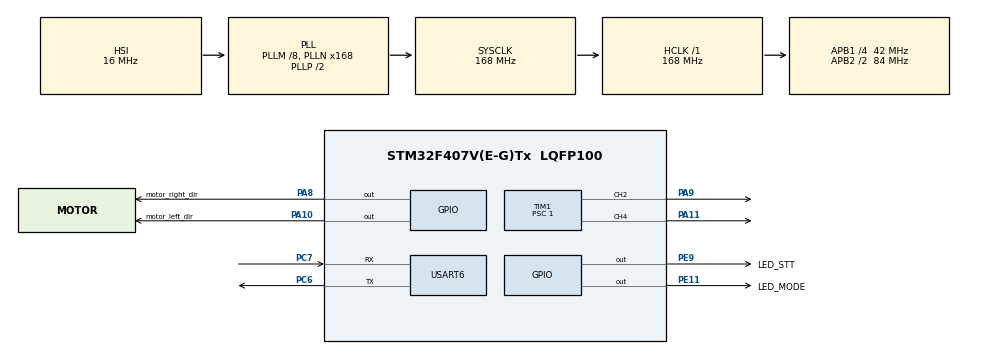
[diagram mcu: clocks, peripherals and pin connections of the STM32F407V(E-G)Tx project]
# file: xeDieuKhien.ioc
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Mcu.Family=STM32F4
Mcu.Name=STM32F407V(E-G)Tx
Mcu.Package=LQFP100
NVIC.PriorityGroup=NVIC_PRIORITYGROUP_4
NVIC.USART6_IRQn=true\:0\:0\:false\:false\:true\:true\:true\:true
PA10.GPIO_Label=motor_left_dir
PA10.GPIO_Speed=GPIO_SPEED_FREQ_VERY_HIGH
PA10.Signal=GPIO_Output
PA11.Signal=S_TIM1_CH4
PA13.Mode=Serial_Wire
PA13.Signal=SYS_JTMS-SWDIO
PA14.Mode=Serial_Wire
PA14.Signal=SYS_JTCK-SWCLK
PA8.GPIO_Label=motor_right_dir
PA8.GPIO_Speed=GPIO_SPEED_FREQ_VERY_HIGH
PA8.Signal=GPIO_Output
PA9.Signal=S_TIM1_CH2
PC6.Mode=Asynchronous
PC6.Signal=USART6_TX
PC7.Mode=Asynchronous
PC7.Signal=USART6_RX
PE11.GPIO_Label=LED_MODE
PE11.GPIO_Speed=GPIO_SPEED_FREQ_VERY_HIGH
PE11.Signal=GPIO_Output
PE9.GPIO_Label=LED_STT
PE9.GPIO_Speed=GPIO_SPEED_FREQ_VERY_HIGH
PE9.Signal=GPIO_Output
PH0-OSC_IN.Mode=HSE-External-Oscillator
PH0-OSC_IN.Signal=RCC_OSC_IN
PH1-OSC_OUT.Mode=HSE-External-Oscillator
PH1-OSC_OUT.Signal=RCC_OSC_OUT
ProjectManager.HeapSize=0x200
ProjectManager.StackSize=0x400
ProjectManager.TargetToolchain=STM32CubeIDE
RCC.48MHZClocksFreq_Value=84000000
RCC.AHBFreq_Value=168000000
RCC.APB1CLKDivider=RCC_HCLK_DIV4
RCC.APB1Freq_Value=42000000
RCC.APB1TimFreq_Value=84000000
RCC.APB2CLKDivider=RCC_HCLK_DIV2
RCC.APB2Freq_Value=84000000
RCC.APB2TimFreq_Value=168000000
RCC.CortexFreq_Value=168000000
RCC.HCLKFreq_Value=168000000
RCC.HSE_VALUE=25000000
RCC.HSI_VALUE=16000000
RCC.LSE_VALUE=32768
RCC.PLLM=8
RCC.PLLN=168
RCC.SYSCLKFreq_VALUE=168000000
RCC.SYSCLKSource=RCC_SYSCLKSOURCE_PLLCLK
RCC.VCOOutputFreq_Value=336000000
SH.S_TIM1_CH2.0=TIM1_CH2,PWM Generation2 CH2
SH.S_TIM1_CH4.0=TIM1_CH4,PWM Generation4 CH4
TIM1.AutoReloadPreload=TIM_AUTORELOAD_PRELOAD_ENABLE
TIM1.Channel-PWM\ Generation2\ CH2=TIM_CHANNEL_2
TIM1.Channel-PWM\ Generation4\ CH4=TIM_CHANNEL_4
TIM1.OCFastMode_PWM-PWM\ Generation2\ CH2=TIM_OCFAST_ENABLE
TIM1.OCFastMode_PWM-PWM\ Generation4\ CH4=TIM_OCFAST_ENABLE
TIM1.Period=8399
TIM1.Prescaler=1
USART6.VirtualMode=VM_ASYNC
VP_TIM1_VS_ClockSourceINT.Mode=Internal
board=custom

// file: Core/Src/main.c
/* USER CODE BEGIN Header */
/**
  ******************************************************************************
  * @file           : main.c
  * @brief          : Main program body
  ******************************************************************************
  * @attention
  *
  * Copyright (c) 2025 STMicroelectronics.
  * All rights reserved.
  *
  * This software is licensed under terms that can be found in the LICENSE file
  * in the root directory of this software component.
  * If no LICENSE file comes with this software, it is provided AS-IS.
  *
  ******************************************************************************
  */
/* USER CODE END Header */
#include "main.h"
#include "tim.h"
#include "usart.h"
#include "gpio.h"

/* USER CODE BEGIN Includes */

#include "myLib/motor.h"
#include "myLib/uartHandle.h"

/* USER CODE END Includes */

void SystemClock_Config(void);

/* USER CODE BEGIN 0 */
void HAL_UART_RxCpltCallback(UART_HandleTypeDef *huart)
{
  if(huart->Instance==huart6.Instance)
  {
	  uartAppHandle(&my_debug);
  }
  HAL_UART_Receive_IT(&huart6,&my_debug.char_data_rec,1);
}

uint32_t lastToggleTime = 0;

/* USER CODE END 0 */

int main(void)
{

  /* MCU Configuration--------------------------------------------------------*/

  /* Reset of all peripherals, Initializes the Flash interface and the Systick. */
  HAL_Init();

  /* Configure the system clock */
  SystemClock_Config();

  /* Initialize all configured peripherals */
  MX_GPIO_Init();
  MX_TIM1_Init();
  MX_USART6_UART_Init();
  /* USER CODE BEGIN 2 */

  motor_init();
  HAL_UART_Receive_IT(&huart6,&my_debug.char_data_rec,1);

  //Forward();
  /* USER CODE END 2 */

  /* Infinite loop */
  /* USER CODE BEGIN WHILE */
  while (1)
  {
	if (HAL_GetTick() - lastToggleTime >= 300)
	{
		HAL_GPIO_TogglePin(LED_STT_GPIO_Port, LED_STT_Pin);
		lastToggleTime = HAL_GetTick();
	}

	if (my_debug.data_done_frame)
	{
		//blynkLed(1);
		//HAL_Delay(100);
		//esp32_print("stm32 data: %s\n\r",my_debug.arr_data_rec);

		int left_dir = 0, right_dir = 0;
		int left_duty = 0, right_duty = 0;

		// Đảm bảo đã loại bỏ '@' và '#' trước khi sscanf
		if (sscanf(my_debug.arr_data_rec,"left(dir[%d],duty[%d])-right(dir[%d],duty[%d])",&left_dir, &left_duty, &right_dir, &right_duty) == 4)
		{
		    // ==== BÁNH TRÁI ====
			// dir = 0 → tiến, dir = 1 → lùi
			//HAL_GPIO_WritePin(motor_left_dir_GPIO_Port, motor_left_dir_Pin,(left_dir == 0) ? GPIO_PIN_RESET : GPIO_PIN_SET);
			HAL_GPIO_WritePin(motor_right_dir_GPIO_Port, motor_right_dir_Pin,(left_dir == 0) ? GPIO_PIN_SET : GPIO_PIN_RESET);
		    // ==== BÁNH PHẢI ====
		    //HAL_GPIO_WritePin(motor_right_dir_GPIO_Port, motor_right_dir_Pin,(right_dir == 0) ? GPIO_PIN_SET : GPIO_PIN_RESET);
			HAL_GPIO_WritePin(motor_left_dir_GPIO_Port, motor_left_dir_Pin,(right_dir == 0) ? GPIO_PIN_RESET : GPIO_PIN_SET);

		    TIM1_SetDuty_CH2(left_duty);
		    TIM1_SetDuty_CH4(right_duty);
		}

		/*
		// Các lệnh đặc biệt cũ (nếu bạn vẫn muốn giữ lại)
	    if (strstr(my_debug.arr_data_rec, "tien"))
		{
			blynkLed(3);
			Forward();
		}
		else if (strstr(my_debug.arr_data_rec, "lui"))
		{
			blynkLed(3);
			Backward();
		}
	    */
		uartAppClear(&my_debug);  // Xóa buffer sau khi xử lý
	}

	HAL_Delay(2);
    /* USER CODE END WHILE */

  }
}

void SystemClock_Config(void)
{
  RCC_OscInitTypeDef RCC_OscInitStruct = {0};
  RCC_ClkInitTypeDef RCC_ClkInitStruct = {0};

  /** Configure the main internal regulator output voltage
  */
  __HAL_RCC_PWR_CLK_ENABLE();
  __HAL_PWR_VOLTAGESCALING_CONFIG(PWR_REGULATOR_VOLTAGE_SCALE1);

  /** Initializes the RCC Oscillators according to the specified parameters
  * in the RCC_OscInitTypeDef structure.
  */
  RCC_OscInitStruct.OscillatorType = RCC_OSCILLATORTYPE_HSI;
  RCC_OscInitStruct.HSIState = RCC_HSI_ON;
  RCC_OscInitStruct.HSICalibrationValue = RCC_HSICALIBRATION_DEFAULT;
  RCC_OscInitStruct.PLL.PLLState = RCC_PLL_ON;
  RCC_OscInitStruct.PLL.PLLSource = RCC_PLLSOURCE_HSI;
  RCC_OscInitStruct.PLL.PLLM = 8;
  RCC_OscInitStruct.PLL.PLLN = 168;
  RCC_OscInitStruct.PLL.PLLP = RCC_PLLP_DIV2;
  RCC_OscInitStruct.PLL.PLLQ = 4;
  if (HAL_RCC_OscConfig(&RCC_OscInitStruct) != HAL_OK)
  {
    Error_Handler();
  }

  /** Initializes the CPU, AHB and APB buses clocks
  */
  RCC_ClkInitStruct.ClockType = RCC_CLOCKTYPE_HCLK|RCC_CLOCKTYPE_SYSCLK
                              |RCC_CLOCKTYPE_PCLK1|RCC_CLOCKTYPE_PCLK2;
  RCC_ClkInitStruct.SYSCLKSource = RCC_SYSCLKSOURCE_PLLCLK;
  RCC_ClkInitStruct.AHBCLKDivider = RCC_SYSCLK_DIV1;
  RCC_ClkInitStruct.APB1CLKDivider = RCC_HCLK_DIV4;
  RCC_ClkInitStruct.APB2CLKDivider = RCC_HCLK_DIV2;

  if (HAL_RCC_ClockConfig(&RCC_ClkInitStruct, FLASH_LATENCY_5) != HAL_OK)
  {
    Error_Handler();
  }
}

void Error_Handler(void)
{
  __disable_irq();
  while (1)
  {
  }
}
